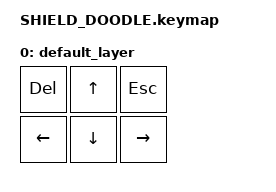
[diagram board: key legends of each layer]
#include <behaviors.dtsi>
#include <dt-bindings/zmk/keys.h>

/ {
    keymap {
        compatible = "zmk,keymap";

        default_layer {
// -------------------------------
// |   DEL   |    UP    |    ESC    |
// |   LEFT   |    DOWN    |    RIGHT    |
            bindings = <
    &kp DEL    &kp UP    &kp ESC
    &kp LEFT    &kp DOWN    &kp RIGHT
            >;

            //sensor-bindings = <&inc_dec_kp C_VOL_UP C_VOL_DN &inc_dec_kp PG_UP PG_DN>;
        };
    };
};
